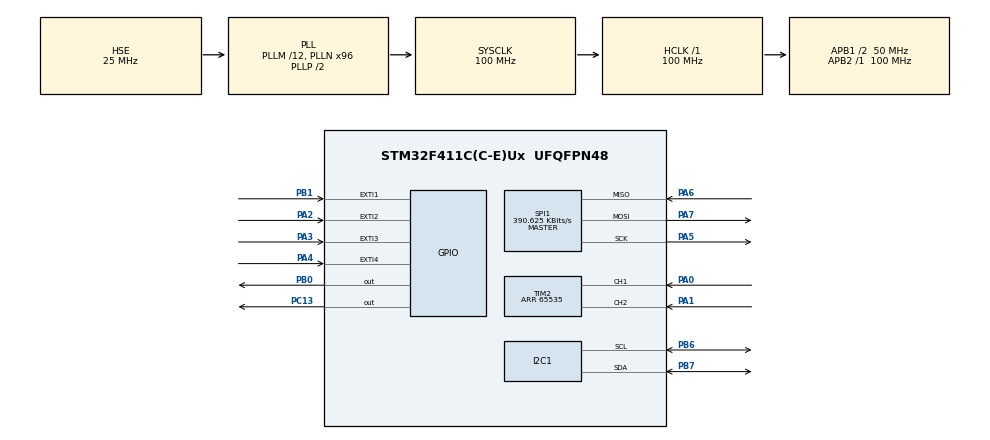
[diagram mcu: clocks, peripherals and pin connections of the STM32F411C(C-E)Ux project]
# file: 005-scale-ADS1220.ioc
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I2C1.I2C_Mode=I2C_Fast
Mcu.Family=STM32F4
Mcu.Name=STM32F411C(C-E)Ux
Mcu.Package=UFQFPN48
NVIC.EXTI2_IRQn=true\:0\:0\:false\:false\:true\:true\:true\:true
NVIC.EXTI3_IRQn=true\:0\:0\:false\:false\:true\:true\:true\:true
NVIC.EXTI4_IRQn=true\:0\:0\:false\:false\:true\:true\:true\:true
NVIC.PriorityGroup=NVIC_PRIORITYGROUP_4
PA0-WKUP.Signal=S_TIM2_CH1_ETR
PA1.Signal=S_TIM2_CH2
PA2.GPIO_ModeDefaultEXTI=GPIO_MODE_IT_FALLING
PA2.GPIO_PuPd=GPIO_PULLUP
PA2.Signal=GPXTI2
PA3.GPIO_ModeDefaultEXTI=GPIO_MODE_IT_FALLING
PA3.GPIO_PuPd=GPIO_PULLUP
PA3.Signal=GPXTI3
PA4.GPIO_ModeDefaultEXTI=GPIO_MODE_IT_FALLING
PA4.GPIO_PuPd=GPIO_PULLUP
PA4.Signal=GPXTI4
PA5.Mode=Full_Duplex_Master
PA5.Signal=SPI1_SCK
PA6.Mode=Full_Duplex_Master
PA6.Signal=SPI1_MISO
PA7.Mode=Full_Duplex_Master
PA7.Signal=SPI1_MOSI
PB0.GPIO_Speed=GPIO_SPEED_FREQ_HIGH
PB0.PinState=GPIO_PIN_SET
PB0.Signal=GPIO_Output
PB1.Signal=GPXTI1
PB6.Mode=I2C
PB6.Signal=I2C1_SCL
PB7.Mode=I2C
PB7.Signal=I2C1_SDA
PC13-ANTI_TAMP.Signal=GPIO_Output
PH0\ -\ OSC_IN.Mode=HSE-External-Oscillator
PH0\ -\ OSC_IN.Signal=RCC_OSC_IN
PH1\ -\ OSC_OUT.Mode=HSE-External-Oscillator
PH1\ -\ OSC_OUT.Signal=RCC_OSC_OUT
ProjectManager.HeapSize=0x200
ProjectManager.StackSize=0x400
ProjectManager.TargetToolchain=STM32CubeIDE
RCC.48MHZClocksFreq_Value=50000000
RCC.AHBFreq_Value=100000000
RCC.APB1CLKDivider=RCC_HCLK_DIV2
RCC.APB1Freq_Value=50000000
RCC.APB1TimFreq_Value=100000000
RCC.APB2Freq_Value=100000000
RCC.APB2TimFreq_Value=100000000
RCC.CortexFreq_Value=100000000
RCC.HCLKFreq_Value=100000000
RCC.HSE_VALUE=25000000
RCC.HSI_VALUE=16000000
RCC.LSE_VALUE=32768
RCC.PLLM=12
RCC.PLLN=96
RCC.PLLSourceVirtual=RCC_PLLSOURCE_HSE
RCC.SYSCLKFreq_VALUE=100000000
RCC.SYSCLKSource=RCC_SYSCLKSOURCE_PLLCLK
RCC.VCOOutputFreq_Value=200000000
SH.S_TIM2_CH1_ETR.0=TIM2_CH1,Encoder_Interface
SH.S_TIM2_CH2.0=TIM2_CH2,Encoder_Interface
SPI1.BaudRatePrescaler=SPI_BAUDRATEPRESCALER_256
SPI1.CLKPhase=SPI_PHASE_2EDGE
SPI1.CalculateBaudRate=390.625 KBits/s
SPI1.Direction=SPI_DIRECTION_2LINES
SPI1.Mode=SPI_MODE_MASTER
SPI1.VirtualType=VM_MASTER
TIM2.AutoReloadPreload=TIM_AUTORELOAD_PRELOAD_ENABLE
TIM2.ClockDivision=TIM_CLOCKDIVISION_DIV1
TIM2.EncoderMode=TIM_ENCODERMODE_TI12
TIM2.IC1Filter=0
TIM2.IC1Polarity=TIM_ICPOLARITY_RISING
TIM2.IC1Prescaler=TIM_ICPSC_DIV1
TIM2.IC2Filter=0
TIM2.IC2Polarity=TIM_ICPOLARITY_RISING
TIM2.IC2Prescaler=TIM_ICPSC_DIV1
TIM2.Period=65535
board=custom

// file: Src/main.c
/* USER CODE BEGIN Header */
/**
  ******************************************************************************
  * @file    main.c
  * @brief   ADS1220 Digital Scale
  *
  *  Buttons (all active-low):
  *    PA3 = Confirm
  *    PA4 = Back
  *    PA2 = Encoder Push
  *
  *  MODE: SCALE (default)
  *    Confirm         → Tare
  *    Encoder Push    → enter CALIBRATE mode
  *    Encoder rotate  → (ignored)
  *
  *  MODE: CALIBRATE
  *    Encoder rotate  → divisor ±1 per detent, weight updates live
  *    Confirm         → save divisor to Flash, return to SCALE
  *    Back            → discard changes, return to SCALE
  *
  *  Display top bar always shows current mode:
  *    [ SCALE  ] or [ CALIBRATE ]
  *
  * Flash sector — adjust for your MCU:
  *   STM32F401 (256 KB): FLASH_SECTOR_5  @ 0x08020000
  *   STM32F411 (512 KB):   FLASH_SECTOR_7  @ 0x08060000
  *   STM32F405/F407 (1 MB):   FLASH_SECTOR_7  @ 0x08060000
  ******************************************************************************
  */
/* USER CODE END Header */

#include "main.h"
#include "i2c.h"
#include "spi.h"
#include "tim.h"
#include "gpio.h"

/* USER CODE BEGIN Includes */
#include <stdio.h>
#include <string.h>
#include "sh1106.h"
#include "sh1106_fonts.h"
#include "EC11.h"
#include "ads1220.h"
/* USER CODE END Includes */

/* USER CODE BEGIN PD */
#define UPDATE_DELAY_MS     200

/* Buttons */
#define BTN_CONFIRM_PORT    GPIOA
#define BTN_CONFIRM_PIN     GPIO_PIN_3
#define BTN_BACK_PORT       GPIOA
#define BTN_BACK_PIN        GPIO_PIN_4
#define BTN_PUSH_PORT       GPIOA
#define BTN_PUSH_PIN        GPIO_PIN_2

/* Flash storage configuration - adjust for your device */
#define FLASH_STORAGE_SECTOR    FLASH_SECTOR_7
#define FLASH_STORAGE_ADDR      0x08060000U
#define FLASH_MAGIC             0xA55A1234U
/* USER CODE END PD */

/* USER CODE BEGIN PM */
#define LED_TOGGLE()             HAL_GPIO_TogglePin(GPIOC, GPIO_PIN_13)
/* helper: returns true if pin reads low (active-low button) */
#define BTN_PRESSED(port, pin)   (HAL_GPIO_ReadPin((port), (pin)) == GPIO_PIN_RESET)
#define ENC_READ()               ((uint16_t)(__HAL_TIM_GET_COUNTER(&htim2)))
#define ENC_RESET()              (__HAL_TIM_SET_COUNTER(&htim2, 0))
/* USER CODE END PM */

/* USER CODE BEGIN PTD */
typedef enum {
    MODE_SCALE = 0,
    MODE_CALIBRATE,
} AppMode_t;

/* Structure stored in flash to persist calibration divisor */
typedef struct {
    uint32_t magic;
    int32_t  calibration_divisor;
    uint32_t checksum;
} FlashConfig_t;

/* Simple debounced button — call every main loop iteration
   only basic edge detection implemented (sufficient for ~200 ms update loop) */
typedef struct {
    GPIO_TypeDef *port;
    uint16_t      pin;
    uint8_t       last_raw;     /* raw GPIO state last loop (1=idle,0=pressed) */
    uint8_t       pressed;      /* single-shot flag: just pressed in this loop */
} Button_t;
/* USER CODE END PTD */

/* USER CODE BEGIN PV */
/* Hardware interface objects */
ADS1220_Handle_t hads1220;
EC11_Encoder_t   encoder;

/* Measurement variables */
int32_t  adc_raw            = 0;   /* raw 24-bit ADC value from ADS1220 */
int32_t  adc_code           = 0;   /* adc_raw - tare_offset */
int32_t  weight_grams_x10   = 0;   /* grams * 10 (one decimal digit) */

/* Simple moving average filter for displayed weight */
#define FILTER_SIZE     8
static int32_t  filter_buf[FILTER_SIZE];
static uint8_t  filter_idx  = 0;
static uint8_t  filter_full = 0;
int32_t  weight_filtered    = 0;

/* Timing / counters */
uint32_t last_update        = 0;
uint32_t sample_count       = 0;
uint32_t samples_per_sec    = 0;
uint32_t last_sps_time      = 0;

/* ADS1220 init flag */
uint8_t  ads_init_ok        = 0;

char     display_buf[64];

/* Scale settings */
int32_t  tare_offset            = 0;
int32_t  calibration_divisor    = 1724; /* counts per gram (×10 internal) */
int32_t  cal_divisor_backup     = 1724; /* temporary backup while editing */
uint8_t  tare_pressed           = 0;

/* Application mode */
AppMode_t app_mode = MODE_SCALE;

/* Buttons instances (active-low) */
Button_t btn_confirm = { BTN_CONFIRM_PORT, BTN_CONFIRM_PIN, 1, 0 };
Button_t btn_back    = { BTN_BACK_PORT,    BTN_BACK_PIN,    1, 0 };
Button_t btn_push    = { BTN_PUSH_PORT,    BTN_PUSH_PIN,    1, 0 };

/* Encoder: EC11 driver provides step/position fields */

/* Notification banner (short message displayed at bottom) */
char     notify_msg[20]  = "";
uint32_t notify_time     = 0;
#define  NOTIFY_DURATION_MS  200
/* USER CODE END PV */

void SystemClock_Config(void);

/* USER CODE BEGIN PFP */
/* Display update helper */
void     Display_Update(void);

/* show a short message on the bottom line, auto-expire after NOTIFY_DURATION_MS */
void     Notify(const char *msg);

/* poll a simple edge-detect button (active-low) */
static void     Button_Poll(Button_t *b);

/* persistence helpers */
static void     Flash_SaveConfig(void);
static uint8_t  Flash_LoadConfig(void);
static uint32_t Config_Checksum(const FlashConfig_t *c);
/* USER CODE END PFP */

/* USER CODE BEGIN 0 */
static void    adsCsLow(void);
static void    adsCsHigh(void);
static int     adsSpiTxRx(const uint8_t *tx, uint8_t *rx, uint16_t len);
static uint8_t adsDrdyRead(void);
/* USER CODE END 0 */

/* ============================================================
 *  main
 *  - initialize peripherals and drivers
 *  - run simple main loop: sample ADC, process input, update UI
 * ============================================================ */
int main(void)
{
    HAL_Init();

    /* USER CODE BEGIN Init */

    CoreDebug->DEMCR |= CoreDebug_DEMCR_TRCENA_Msk;
    ITM->LAR = 0xC5ACCE55;
    ITM->TCR = ITM_TCR_ITMENA_Msk | ITM_TCR_TSENA_Msk;
    ITM->TER = 1;

    /* provide platform callbacks to ADS1220 driver */
    hads1220.csLow    = adsCsLow;
    hads1220.csHigh   = adsCsHigh;
    hads1220.spiTxRx  = adsSpiTxRx;
    hads1220.drdyRead = adsDrdyRead;
    hads1220.gain     = 128;
    hads1220.vref     = 2.048f;
    /* USER CODE END Init */

    SystemClock_Config();

    MX_GPIO_Init();
    MX_I2C1_Init();
    MX_TIM2_Init();
    MX_SPI1_Init();

    /* USER CODE BEGIN 2 */
    HAL_Delay(100); /* allow supplies and sensors to settle */

    /* initialize OLED; hang if display not present */
    if (SH1106_Init() != SH1106_OK) {
        while (1) { LED_TOGGLE(); HAL_Delay(200); }
    }
    SH1106_Fill(SH1106_COLOR_BLACK);
    SH1106_UpdateScreen();

    /* encoder hardware + driver */
    EC11_Init(&encoder);
    HAL_TIM_Encoder_Start(&htim2, TIM_CHANNEL_ALL);
    ENC_RESET();

    /* initialize ADS1220 ADC */
    if (ADS1220_Init(&hads1220) == ADS1220_OK) {
        ads_init_ok   = 1;
        hads1220.gain = 128; /* confirm gain */
    } else {
        /* show error and halt */
        SH1106_WriteStringAt(10, 28, "ADS1220 INIT FAIL", Font_8H, SH1106_COLOR_WHITE);
        SH1106_UpdateScreen();
        while (1) { LED_TOGGLE(); HAL_Delay(500); }
    }

    /* restore previous calibration (if present) - silent fallback to defaults */
    Flash_LoadConfig();

    last_update   = HAL_GetTick();
    last_sps_time = HAL_GetTick();
    /* USER CODE END 2 */

    /* Main loop */
    while (1)
    {
        /* USER CODE BEGIN 3 */
        uint32_t now = HAL_GetTick();

        /* ---- ADC sampling & basic processing ----
         * Read raw ADC, subtract tare, compute weight (integer math)
         * Apply lightweight moving average for display smoothing.
         */
        if (ads_init_ok) {
            if (ADS1220_ReadData(&hads1220, &adc_raw) == ADS1220_OK) {
                adc_code         = adc_raw - tare_offset;
                weight_grams_x10 = (adc_code * 10) / calibration_divisor;

                /* moving average buffer update */
                filter_buf[filter_idx] = weight_grams_x10;
                filter_idx = (filter_idx + 1) % FILTER_SIZE;
                if (filter_idx == 0) filter_full = 1;

                uint8_t  count = filter_full ? FILTER_SIZE : filter_idx;
                int32_t  sum   = 0;
                for (uint8_t i = 0; i < count; i++) sum += filter_buf[i];
                weight_filtered = sum / (count ? count : 1);

                sample_count++;
            }
        }

        /* update samples per second every 1 second */
        if ((now - last_sps_time) >= 1000) {
            samples_per_sec = sample_count;
            sample_count    = 0;
            last_sps_time   = now;
        }

        /* ---- Input processing: buttons and encoder ---- */
        Button_Poll(&btn_confirm);
        Button_Poll(&btn_back);
        Button_Poll(&btn_push);

        /* encoder delta calculation using EC11 helper (driver provides stable detent counts) */
        int32_t enc_delta = 0;
        {
            int32_t diff = EC11_TimerDiff16(&encoder, ENC_READ());
            if (diff != 0) {
                int32_t before = encoder.step;
                EC11_ProcessTicks(&encoder, diff);
                enc_delta = encoder.step - before; /* logical detent steps */
            }
        }

        /* ---- Application state machine ----
         * SCALE: confirm = tare, push = enter calibrate
         * CALIBRATE: encoder adjusts divisor live, confirm=save, back=undo
         */
        switch (app_mode)
        {
        case MODE_SCALE:
            if (btn_confirm.pressed) {
                /* store current raw as tare reference */
                tare_offset  = adc_raw;
                tare_pressed = 1;
                Notify("Tared");
            }
            if (btn_push.pressed) {
                /* enter calibration; keep backup so Back can restore */
                cal_divisor_backup = calibration_divisor;
                app_mode = MODE_CALIBRATE;
                Notify("CAL");
                /* force immediate UI refresh */
                last_update = 0;
            }
            /* encoder ignored in SCALE mode */
            break;

        case MODE_CALIBRATE:
            if (enc_delta != 0) {
                /* adjust divisor by detents (increase divisor -> less grams) */
                calibration_divisor -= enc_delta;
                if (calibration_divisor <= 0) calibration_divisor = 1;
                /* indicate direction quickly */
                Notify(enc_delta > 0 ? ">" : "<");
                last_update = 0; /* immediate redraw to show feedback */
            }
            if (btn_confirm.pressed) {
                Flash_SaveConfig(); /* persist new divisor */
                app_mode = MODE_SCALE;
                Notify("Saved");
            }
            if (btn_back.pressed) {
                calibration_divisor = cal_divisor_backup; /* restore old value */
                app_mode = MODE_SCALE;
                Notify("Canceled");
            }
            break;
        }

        /* expire short notifications */
        if (notify_msg[0] && (now - notify_time) >= NOTIFY_DURATION_MS) {
            notify_msg[0] = '\0';
        }

        /* ---- Periodic display refresh ---- */
        if ((now - last_update) >= UPDATE_DELAY_MS) {
            last_update = now;
            LED_TOGGLE();
            Display_Update();
        }
        /* USER CODE END 3 */
    }
}

/* ============================================================
 *  Display
 *
 *  Top bar: current mode (inverted background)
 *  Main area: weight, raw adc, net adc, divisor
 *  Bottom: notification or help + SPS
 * ============================================================ */
void Display_Update(void)
{
    SH1106_Fill(SH1106_COLOR_BLACK);

    /* Mode bar: inverted background with centered text */
    SH1106_FillRectangle(0, 0, 127, 11, SH1106_COLOR_WHITE);
    if (app_mode == MODE_SCALE) {
        SH1106_WriteStringAt(26, 2, "   SCALE   ", Font_8H, SH1106_COLOR_BLACK);
    } else {
        SH1106_WriteStringAt(14, 2, "  CALIBRATE  ", Font_8H, SH1106_COLOR_BLACK);
    }

    /* Weight line: show filtered value if tare performed */
    if (tare_pressed) {
        int32_t g = weight_filtered / 10;
        int32_t d = (weight_filtered < 0) ? -(weight_filtered % 10) : weight_filtered % 10;
        snprintf(display_buf, sizeof(display_buf), "Weight: %ld.%ld g", g, d);
    } else {
        snprintf(display_buf, sizeof(display_buf), "Weight: -- tare --");
    }
    SH1106_WriteStringAt(2, 13, display_buf, Font_8H, SH1106_COLOR_WHITE);

    /* Raw ADC and net ADC */
    snprintf(display_buf, sizeof(display_buf), "RAW: %ld", adc_raw);
    SH1106_WriteStringAt(2, 23, display_buf, Font_8H, SH1106_COLOR_WHITE);

    snprintf(display_buf, sizeof(display_buf), "ADC: %ld", adc_code);
    SH1106_WriteStringAt(2, 33, display_buf, Font_8H, SH1106_COLOR_WHITE);

    /* Divisor display (calibration parameter) */
    snprintf(display_buf, sizeof(display_buf), "DIV: %ld", calibration_divisor);
    SH1106_WriteStringAt(2, 43, display_buf, Font_8H, SH1106_COLOR_WHITE);

    /* Bottom line: either notification centered, or context hint + SPS */
    if (notify_msg[0]) {
        uint8_t len = (uint8_t)strlen(notify_msg);
        uint8_t x   = (128 - len * 8) / 2;
        if (x > 127) x = 0;
        SH1106_FillRectangle(0, 51, 127, 63, SH1106_COLOR_WHITE);
        SH1106_WriteStringAt(x, 53, notify_msg, Font_8H, SH1106_COLOR_BLACK);
    } else if (app_mode == MODE_SCALE) {
        snprintf(display_buf, sizeof(display_buf), "OK=tare push=cal %lu", samples_per_sec);
        SH1106_WriteStringAt(2, 53, display_buf, Font_8H, SH1106_COLOR_WHITE);
    } else {
        snprintf(display_buf, sizeof(display_buf), "OK=save back=undo %lu", samples_per_sec);
        SH1106_WriteStringAt(2, 53, display_buf, Font_8H, SH1106_COLOR_WHITE);
    }

    SH1106_UpdateScreen();
}

/* show a short centered message on the bottom line */
void Notify(const char *msg)
{
    strncpy(notify_msg, msg, sizeof(notify_msg) - 1);
    notify_msg[sizeof(notify_msg) - 1] = '\0';
    notify_time = HAL_GetTick();
}

/* ============================================================
 *  Button poll (edge detect)
 *  - Active-low buttons.
 *  - Simple edge detection suffices at ~200 ms update rate.
 * ============================================================ */
static void Button_Poll(Button_t *b)
{
    b->pressed      = 0;
    /* raw logic: treat 0 when pressed, 1 when idle to simplify edge check */
    uint8_t raw     = BTN_PRESSED(b->port, b->pin) ? 0 : 1;
    if (raw == 0 && b->last_raw == 1) { /* falling edge: newly pressed */
        b->pressed = 1;
    }
    b->last_raw = raw;
}

/* ============================================================
 *  Flash persistence helpers
 *  - store only a small FlashConfig_t containing magic/checksum/divisor
 *  - caller must ensure sector/address match MCU layout
 * ============================================================ */
static uint32_t Config_Checksum(const FlashConfig_t *c)
{
    return c->magic ^ (uint32_t)c->calibration_divisor;
}

static void Flash_SaveConfig(void)
{
    FlashConfig_t cfg;
    cfg.magic               = FLASH_MAGIC;
    cfg.calibration_divisor = calibration_divisor;
    cfg.checksum            = Config_Checksum(&cfg);

    HAL_FLASH_Unlock();

    /* erase one sector (Flash layout dependent) */
    FLASH_EraseInitTypeDef erase = {0};
    erase.TypeErase    = FLASH_TYPEERASE_SECTORS;
    erase.Sector       = FLASH_STORAGE_SECTOR;
    erase.NbSectors    = 1;
    erase.VoltageRange = FLASH_VOLTAGE_RANGE_3; /* 2.7V - 3.6V devices */

    uint32_t err = 0;
    HAL_FLASHEx_Erase(&erase, &err);

    /* program words sequentially */
    uint32_t addr  = FLASH_STORAGE_ADDR;
    uint32_t *data = (uint32_t *)&cfg;
    for (uint32_t i = 0; i < sizeof(FlashConfig_t) / 4; i++) {
        HAL_FLASH_Program(FLASH_TYPEPROGRAM_WORD, addr, data[i]);
        addr += 4;
    }

    HAL_FLASH_Lock();
}

/* Load config from flash, return 1 if valid and applied, 0 otherwise */
static uint8_t Flash_LoadConfig(void)
{
    const FlashConfig_t *cfg = (const FlashConfig_t *)FLASH_STORAGE_ADDR;
    if (cfg->magic    != FLASH_MAGIC)          return 0;
    if (cfg->checksum != Config_Checksum(cfg)) return 0;
    if (cfg->calibration_divisor == 0)         return 0;
    calibration_divisor = cfg->calibration_divisor;
    return 1;
}

/* ============================================================
 *  ADS1220 platform callbacks (SPI + CS + DRDY)
 *  - These adapt the ADS1220 driver to the HAL SPI + GPIOs used
 * ============================================================ */
static void adsCsLow(void)  { HAL_GPIO_WritePin(GPIOB, GPIO_PIN_0, GPIO_PIN_RESET); }
static void adsCsHigh(void) { HAL_GPIO_WritePin(GPIOB, GPIO_PIN_0, GPIO_PIN_SET);   }

static int adsSpiTxRx(const uint8_t *tx, uint8_t *rx, uint16_t len)
{
    HAL_StatusTypeDef st;
    if (tx && rx) {
        st = HAL_SPI_TransmitReceive(&hspi1, (uint8_t *)tx, rx, len, 100);
    } else if (rx) {
        static uint8_t zeros[256];
        if (len > sizeof(zeros)) return -1;
        st = HAL_SPI_TransmitReceive(&hspi1, zeros, rx, len, 100);
    } else if (tx) {
        st = HAL_SPI_Transmit(&hspi1, (uint8_t *)tx, len, 100);
    } else {
        return -1;
    }
    return (st == HAL_OK) ? 0 : -1;
}

/* DRDY line is active-low on PB1 in the CubeMX configuration */
static uint8_t adsDrdyRead(void)
{
    return HAL_GPIO_ReadPin(GPIOB, GPIO_PIN_1) == GPIO_PIN_RESET;
}

/* ============================================================
 *  System Clock (CubeMX generated values retained)
 * ============================================================ */
void SystemClock_Config(void)
{
    RCC_OscInitTypeDef RCC_OscInitStruct = {0};
    RCC_ClkInitTypeDef RCC_ClkInitStruct = {0};

    __HAL_RCC_PWR_CLK_ENABLE();
    __HAL_PWR_VOLTAGESCALING_CONFIG(PWR_REGULATOR_VOLTAGE_SCALE1);

    RCC_OscInitStruct.OscillatorType = RCC_OSCILLATORTYPE_HSE;
    RCC_OscInitStruct.HSEState       = RCC_HSE_ON;
    RCC_OscInitStruct.PLL.PLLState   = RCC_PLL_ON;
    RCC_OscInitStruct.PLL.PLLSource  = RCC_PLLSOURCE_HSE;
    RCC_OscInitStruct.PLL.PLLM       = 12;
    RCC_OscInitStruct.PLL.PLLN       = 96;
    RCC_OscInitStruct.PLL.PLLP       = RCC_PLLP_DIV2;
    RCC_OscInitStruct.PLL.PLLQ       = 4;
    if (HAL_RCC_OscConfig(&RCC_OscInitStruct) != HAL_OK) Error_Handler();

    RCC_ClkInitStruct.ClockType      = RCC_CLOCKTYPE_HCLK | RCC_CLOCKTYPE_SYSCLK
                                     | RCC_CLOCKTYPE_PCLK1 | RCC_CLOCKTYPE_PCLK2;
    RCC_ClkInitStruct.SYSCLKSource   = RCC_SYSCLKSOURCE_PLLCLK;
    RCC_ClkInitStruct.AHBCLKDivider  = RCC_SYSCLK_DIV1;
    RCC_ClkInitStruct.APB1CLKDivider = RCC_HCLK_DIV2;
    RCC_ClkInitStruct.APB2CLKDivider = RCC_HCLK_DIV1;
    if (HAL_RCC_ClockConfig(&RCC_ClkInitStruct, FLASH_LATENCY_3) != HAL_OK) Error_Handler();
}

void Error_Handler(void)
{
    __disable_irq();
    while (1) {}
}
